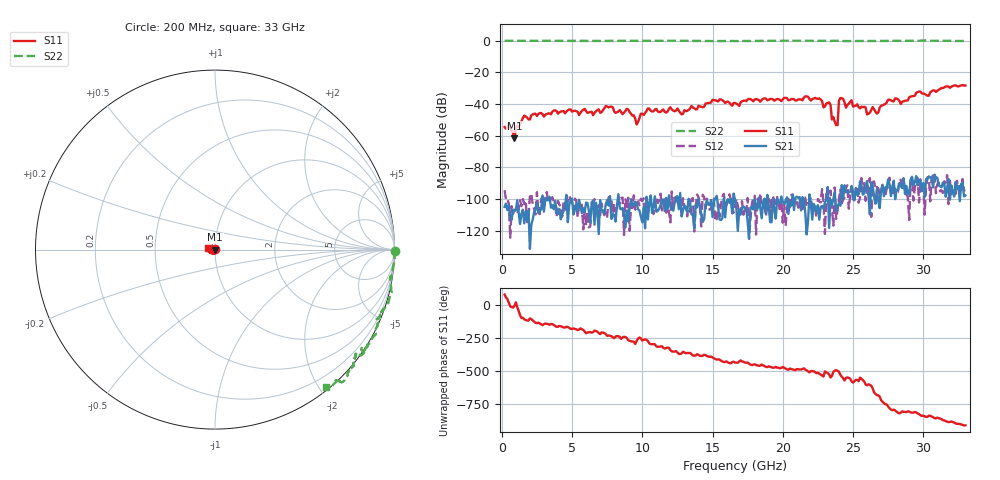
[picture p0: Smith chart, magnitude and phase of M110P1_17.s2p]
# GHZ S RI R 50
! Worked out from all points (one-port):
!   329 points, 200 MHz to 33 GHz, reference 50 ohm
!   lowest |S11| = -61.7 dB at 900 MHz (marker M1), VSWR 1.00, Z = 50.1 - j0.00896 ohm
!   |S11| at or under -10 dB: start of sweep to end of sweep
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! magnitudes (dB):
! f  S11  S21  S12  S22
! 200 MHz  -54.5  -104.9  -94.4  0.0
! 500 MHz  -52.5  -104.0  -103.0  0.0
! 900 MHz  -61.7  -107.5  -106.7  0.0
! 1 GHz  -55.3  -107.1  -109.2  0.0
! 1.6 GHz  -47.3  -115.4  -103.2  0.0
! 5.7 GHz  -44.3  -108.9  -103.6  -0.1
! 8.9 GHz  -43.0  -107.2  -105.7  0.0
! 9.6 GHz  -52.8  -102.8  -102.9  0.1
! 10.4 GHz  -42.8  -112.9  -108.4  0.1
! 11.2 GHz  -45.0  -106.2  -101.0  0.1
! 16.6 GHz  -39.3  -100.3  -105.1  -0.2
! 22.1 GHz  -36.8  -112.9  -105.7  0.0
! 23.3 GHz  -38.9  -118.3  -105.6  -0.1
! 23.5 GHz  -49.7  -103.7  -106.1  0.0
! 23.8 GHz  -53.3  -107.6  -112.6  0.1
! 23.9 GHz  -53.3  -104.7  -106.9  0.1
! 24 GHz  -37.9  -102.6  -99.9  0.0
! 24.1 GHz  -36.1  -104.3  -94.0  -0.1
! 24.5 GHz  -42.3  -94.8  -93.1  -0.2
! 26 GHz  -46.5  -88.6  -94.7  -0.1
! 27.6 GHz  -37.3  -90.6  -86.5  0.0
! 33 GHz  -28.3  -97.8  -94.4  -0.1
